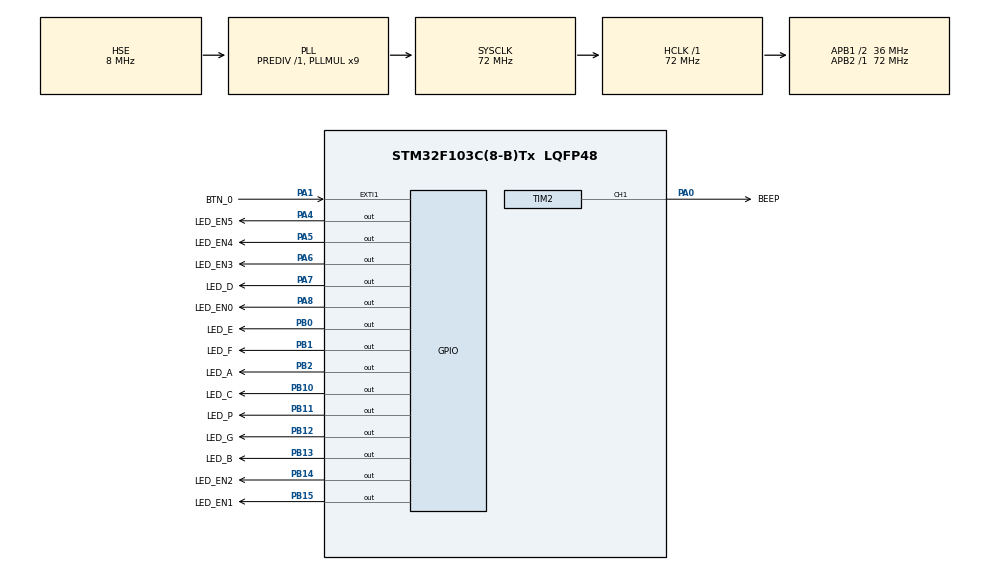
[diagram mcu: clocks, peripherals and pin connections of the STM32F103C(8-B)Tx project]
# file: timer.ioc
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Mcu.Family=STM32F1
Mcu.Name=STM32F103C(8-B)Tx
Mcu.Package=LQFP48
NVIC.EXTI1_IRQn=true\:0\:0\:true\:false\:true\:true\:true\:true
NVIC.PriorityGroup=NVIC_PRIORITYGROUP_4
NVIC.TIM1_UP_IRQn=true\:0\:0\:false\:false\:true\:true\:true\:true
NVIC.TIM2_IRQn=true\:1\:0\:true\:false\:true\:true\:true\:true
PA0-WKUP.GPIO_Label=BEEP
PA0-WKUP.Signal=S_TIM2_CH1_ETR
PA1.GPIO_Label=BTN_0
PA1.Signal=GPXTI1
PA2.GPIO_Label=TIMER
PA2.Signal=S_TIM2_CH3
PA4.GPIO_Label=LED_EN5
PA4.Signal=GPIO_Output
PA5.GPIO_Label=LED_EN4
PA5.Signal=GPIO_Output
PA6.GPIO_Label=LED_EN3
PA6.Signal=GPIO_Output
PA7.GPIO_Label=LED_D
PA7.Signal=GPIO_Output
PA8.GPIO_Label=LED_EN0
PA8.Signal=GPIO_Output
PB0.GPIO_Label=LED_E
PB0.Signal=GPIO_Output
PB1.GPIO_Label=LED_F
PB1.Signal=GPIO_Output
PB10.GPIO_Label=LED_C
PB10.Signal=GPIO_Output
PB11.GPIO_Label=LED_P
PB11.Signal=GPIO_Output
PB12.GPIO_Label=LED_G
PB12.Signal=GPIO_Output
PB13.GPIO_Label=LED_B
PB13.Signal=GPIO_Output
PB14.GPIO_Label=LED_EN2
PB14.Signal=GPIO_Output
PB15.GPIO_Label=LED_EN1
PB15.Signal=GPIO_Output
PB2.GPIO_Label=LED_A
PB2.Signal=GPIO_Output
PC14-OSC32_IN.Mode=LSE-External-Oscillator
PC14-OSC32_IN.Signal=RCC_OSC32_IN
PC15-OSC32_OUT.Mode=LSE-External-Oscillator
PC15-OSC32_OUT.Signal=RCC_OSC32_OUT
PD0-OSC_IN.Mode=HSE-External-Oscillator
PD0-OSC_IN.Signal=RCC_OSC_IN
PD1-OSC_OUT.Mode=HSE-External-Oscillator
PD1-OSC_OUT.Signal=RCC_OSC_OUT
ProjectManager.HeapSize=0x200
ProjectManager.StackSize=0x400
ProjectManager.TargetToolchain=STM32CubeIDE
RCC.AHBFreq_Value=72000000
RCC.APB1CLKDivider=RCC_HCLK_DIV2
RCC.APB1Freq_Value=36000000
RCC.APB1TimFreq_Value=72000000
RCC.APB2Freq_Value=72000000
RCC.APB2TimFreq_Value=72000000
RCC.DATA_CACHE_ENABLE=0
RCC.HCLKFreq_Value=72000000
RCC.INSTRUCTION_CACHE_ENABLE=0
RCC.PLLMUL=RCC_PLL_MUL9
RCC.PLLSourceVirtual=RCC_PLLSOURCE_HSE
RCC.SYSCLKFreq_VALUE=72000000
RCC.SYSCLKSource=RCC_SYSCLKSOURCE_PLLCLK
RCC.USBFreq_Value=72000000
SH.S_TIM2_CH1_ETR.0=TIM2_CH1,PWM Generation1 CH1
SH.S_TIM2_CH3.0=TIM2_CH3
TIM1.Period=999
TIM1.Prescaler=71
TIM2.Channel-PWM\ Generation1\ CH1=TIM_CHANNEL_1
TIM2.Period=999
TIM2.Prescaler=71
VP_SYS_VS_ND.Mode=No_Debug
VP_TIM1_VS_ClockSourceINT.Mode=Internal
VP_TIM2_VS_ClockSourceINT.Mode=Internal
board=custom

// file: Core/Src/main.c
/* USER CODE BEGIN Header */
/**
  ******************************************************************************
  * @file           : main.c
  * @brief          : Main program body
  ******************************************************************************
  * @attention
  *
  * Copyright (c) 2023 STMicroelectronics.
  * All rights reserved.
  *
  * This software is licensed under terms that can be found in the LICENSE file
  * in the root directory of this software component.
  * If no LICENSE file comes with this software, it is provided AS-IS.
  *
  ******************************************************************************
  */
/* USER CODE END Header */
#include "main.h"
#include "tim.h"
#include "gpio.h"

/* USER CODE BEGIN PV */
uint8_t trigger = 0;
uint8_t play = 1;
uint16_t m_sec = 0;
uint8_t sec = 0;
uint8_t time = 0;
uint8_t display[6] = {0, 0, 0, 0, 0, 0};
uint16_t scale2freq[]= { //0为休止 从1-36 从低音Do 262Hz依次升高
        //休止
        1,
        //低DO
        262,
        //DO#
        277,
        //低2 RE
        294,
        //RE#
        311,
        //低3 MI
        330,
        //低4 FA
        349,
        //FA#
        370,
        //低5 SO
        392,
        //SO#
        415,
        //低6 LA
        440,
        //LA#
        466,
        //低7 SI
        494,
        //1 DO
        523,
        //DO#
        554,
        //中2 RE
        587,
        //RE#
        622,
        //中3 MI
        659,
        //中4 FA
        698,
        //FA#
        740,
        //中5 SO
        784,
        //SO#
        831,
        //中6 LA
        880,
        //LA#
        932,
        //中7 SI
        988,
        //高1 DO
        1046,
        //DO#
        1109,
        //高2 RE
        1175,
        //RE#
        1245,
        //高3 MI
        319,
        //高4 FA
        1397,
        //FA#
        1480,
        //高5 SO
        1568,
        //SO#
        1661,
        //高6 LA
        1760,
        //LA#
        1865,
        //高7 SI
        1967
};
uint8_t scale[] = { //乐谱 千本樱
//h1 四行为一个小节
20,20,20,20,22,22,22,22, //一行为一个4分音符
15,15,13,13,15,15,13,13,
20,20,20,20,22,22,22,22,
15,15,13,13,15,15,13,13,

20,20,20,20,22,22,22,22,
15,15,13,13,15,15,13,13,
18,18,18,18,17,17,17,17,
18,17,15,15,13,13,13,13,

20,20,20,20,22,22,22,22,
15,15,13,13,15,15,13,13,
20,20,20,20,22,22,22,22,
15,15,13,13,15,15,13,13,

20,20,20,20,22,22,22,22,
25,25,25,25,30,30,30,30,
29,29,30,30,29,29,27,27,
25,25,25,25,22,22,22,22,

//h2
20,20,20,20, 22,22,22,22,
15,15,13,13,15,15,13,13,
20,20,20,20,22,22,22,22,
15,15,13,13,15,15,13,13,

20,20,20,20,22,22,22,22,
15,15,13,13,15,15,13,13,
18,18,18,18,17,17,17,17,
18,17,15,15,13,13,13,13,

15,15,15,15,13,13,15,15,
18,18,18,18,15,15,18,18,
22,22,22,22,20,20,22,22,
25,25,25,25,22,22,25,25,

30,30,30,30,29,29,30,29,
27,27,27,27,25,25,25,25,
27,27,27,27,27,27,27,27,
15,15,15,15,18,18,18,18,

//h3
20,20,20,20, 22,22,22,22,
15,15,13,13,15,15,13,13,
20,20,20,20,22,22,22,22,
15,15,13,13,15,15,13,13,

20,20,20,20,22,22,22,22,
15,15,13,13,15,15,13,13,
18,18,18,18,17,17,17,17,
18,17,15,15,13,13,13,13,

20,20,20,20,22,22,22,22,
15,15,13,13,15,15,13,13,
20,20,20,20,22,22,22,22,
15,15,13,13,15,15,13,13,

20,20,20,20,22,22,22,22,
25,25,25,25,30,30,30,30,
29,29,30,30,29,29,27,27,
25,25,25,25,22,22,22,22,

//h4
20,20,20,20,22,22,22,22,
15,15,13,13,15,15,13,13,
20,20,20,20,22,22,22,22,
15,15,13,13,15,15,13,13,

20,20,20,20,22,22,22,22,
15,15,13,13,15,15,13,13,
18,18,18,18,17,17,17,17,
18,17,15,15,13,13,13,13,

20,20,18,18,22,22,25,25,
27,27,25,25,22,22,20,20,
15,15,15,15,18,18,18,18,
20,20,20,20,22,22,22,22,

15,15,15,15,15,0,15,15,
15,15,15,0,13,13,13,13,
15,15,15,15,15,15,15,15,
0,0,0,0,0,0,0,0,

//h5
15,15,15,15,15,15,15,0,
15,15,15,15,13,13,13,13,
15,15,15,15,18,18,18,0,
18,18,18,18,20,20,20,20,

15,15,15,15,15,15,15,0,
15,15,15,15,13,13,13,13,
15,15,15,15,13,13,13,0,
10,10,10,10,13,13,13,13,

15,15,15,15,15,15,15,0,
15,15,15,15,13,13,13,13,
15,15,15,15,18,18,18,0,
18,18,18,18,20,20,20,20,

22,22,22,22,22,22,22,22,
20,20,20,20,22,22,20,20,
18,18,18,18,18,18,18,18,
15,15,15,15,15,15,15,0,

//h6
15,15,15,15,15,15,15,0,
15,15,15,15,13,13,13,13,
15,15,15,15,18,18,18,0,
18,18,18,18,20,20,20,20,

15,15,15,15,15,15,15,0,
15,15,15,15,13,13,13,13,
15,15,15,15,13,13,13,0,
13,13,13,13,10,10,10,10,

15,15,15,15,15,15,15,0,
15,15,15,15,13,13,13,13,
15,15,15,15,18,18,18,0,
18,18,18,18,20,20,20,20,

22,22,22,22,22,22,22,22,
20,20,20,20,22,22,20,20,
18,18,18,18,18,18,18,18,
15,15,15,15,15,15,15,15,

//h7
18,18,18,18,18,18,18,18,
17,17,17,17,17,17,17,17,
15,15,15,15,15,15,15,15,
13,13,13,13,13,13,13,0,

13,13,13,13,13,13,15,15,
10,10,10,10,8,8,8,8,
10,10,10,10,10,10,10,10,
10,10,10,10,10,10,10,0,

10,10,10,10,13,13,13,13,
15,15,15,15,15,15,15,15,
20,20,20,20,20,20,20,20,
17,17,17,17,17,17,17,17,

18,18,18,18,18,18,18,18,
17,17,17,17,13,13,13,13,
15,15,15,15,15,15,15,15,
15,15,15,15,15,15,15,15,

//h8
18,18,18,18,18,18,18,18,
17,17,17,17,17,17,17,17,
15,15,15,15,15,15,15,15,
13,13,13,13,13,13,13,13,

13,13,13,13,13,13,15,15,
10,10,10,10,8,8,8,8,
10,10,10,10,10,10,10,0,
10,10,10,10,13,13,13,13,

15,15,15,0,15,15,15,15,
15,15,15,0,15,15,15,15,
18,18,18,18,18,18,18,18,
20,20,20,20,20,20,20,20,

17,17,17,17,17,17,17,17,
17,17,17,17,17,17,17,17,
17,17,17,17,0,0,0,0,
15,15,15,15,18,18,18,18,

//h9
20,20,20,0,20,20,20,20,
20,20,20,20,22,22,22,0,
22,22,22,22,22,22,22,22,
22,22,22,0,22,22,22,22,

25,25,25,25,27,27,27,27,
20,20,20,20,18,18,18,18,
22,22,22,22,22,22,22,22,
15,15,15,15,18,18,18,18,

20,20,20,20,20,0,20,20,
20,20,20,20,22,22,22,0,
22,22,22,22,22,22,22,22,
22,22,22,0,22,22,22,22,

23,23,23,23,22,22,22,22,
20,20,20,20,18,18,18,0,
18,18,18,18,18,18,18,18,
15,15,15,15,18,18,18,18,

//h10
20,20,20,20,20,0,20,20,
20,20,20,20,22,22,22,0,
22,22,22,22,22,22,22,22,
22,22,22,0,22,22,22,22,

25,25,25,25,27,27,27,27,
20,20,20,20,18,18,18,18,
22,22,22,22,22,22,22,22,
15,15,15,15,18,18,18,18,

23,23,23,23,23,23,23,23,
22,22,22,22,22,22,22,22,
20,20,20,20,20,20,20,20,
18,18,18,18,18,18,18,18,

20,20,20,20,22,22,22,22,
18,18,18,18,13,13,13,13,
15,15,15,15,15,15,15,0,
15,15,15,15,18,18,18,18,

//h9 2
20,20,20,20,20,0,20,20,
20,20,20,20,22,22,22,0,
22,22,22,22,22,22,22,22,
22,22,22,0,22,22,22,22,

25,25,25,25,27,27,27,27,
20,20,20,20,18,18,18,18,
22,22,22,22,22,22,22,22,
15,15,15,15,18,18,18,18,

20,20,20,20,20,0,20,20,
20,20,20,20,22,22,22,0,
22,22,22,22,22,22,22,22,
22,22,22,0,22,22,22,22,

23,23,23,23,22,22,22,22,
20,20,20,20,18,18,18,0,
18,18,18,18,18,18,18,18,
15,15,15,15,18,18,18,18,

//h10 2 + 11
20,20,20,20,20,0,20,20,
20,20,20,20,22,22,22,0,
22,22,22,22,22,22,22,22,
22,22,22,0,22,22,22,22,

25,25,25,25,27,27,27,27,
20,20,20,20,18,18,18,18,
22,22,22,22,22,22,22,22,
15,15,15,15,18,18,18,18,

23,23,23,23,23,23,23,23,
22,22,22,22,22,22,22,22,
20,20,20,20,20,20,20,20,
18,18,18,18,18,18,18,18,

20,20,20,20,18,18,18,18,
22,22,22,22,25,25,25,25,
27,27,27,27,27,27,27,27,
27,27,27,27,0,0,0,0,

//h3 2
20,20,20,20, 22,22,22,22,
15,15,13,13,15,15,13,13,
20,20,20,20,22,22,22,22,
15,15,13,13,15,15,13,13,

20,20,20,20,22,22,22,22,
15,15,13,13,15,15,13,13,
18,18,18,18,17,17,17,17,
18,17,15,15,13,13,13,13,

20,20,20,20,22,22,22,22,
15,15,13,13,15,15,13,13,
20,20,20,20,22,22,22,22,
15,15,13,13,15,15,13,13,

20,20,20,20,22,22,22,22,
25,25,25,25,30,30,30,30,
29,29,30,30,29,29,27,27,
25,25,25,25,22,22,22,22,

//h4 2
20,20,20,20, 22,22,22,22,
15,15,13,13,15,15,13,13,
20,20,20,20,22,22,22,22,
15,15,13,13,15,15,13,13,

20,20,20,20,22,22,22,22,
15,15,13,13,15,15,13,13,
18,18,18,18,17,17,17,17,
18,17,15,15,13,13,13,13,

20,20,18,18,22,22,25,25,
27,27,25,25,22,22,20,20,
15,15,15,15,15,15,18,18,
20,20,20,20,22,22,22,22,

15,15,15,15,15,0,15,15,
15,15,15,0,13,13,13,13,
15,15,15,15,15,15,15,15,
0,0,0,0,0,0,0,0,

//h12
18,18,18,18,18,18,18,18,
17,17,17,17,17,17,17,17,
15,15,15,15,15,15,15,15,
13,13,13,13,13,13,13,13,

13,13,13,13,13,13,15,15,
10,10,10,10,8,8,8,8,
10,10,10,10,10,10,10,10,
10,10,10,10,10,10,10,0,

10,10,10,10,13,13,13,13,
15,15,15,15,15,15,15,15,
20,20,20,20,20,20,20,20,
17,17,17,17,17,17,17,17,

18,18,18,18,18,18,18,18,
17,17,17,17,13,13,13,13,
15,15,15,15,15,15,15,15,
15,15,15,15,15,15,15,15,

//h13
18,18,18,18,18,18,18,18,
17,17,17,17,17,17,17,17,
15,15,15,15,15,15,15,15,
13,13,13,13,13,13,13,0,

13,13,13,13,13,13,15,15,
10,10,10,10,8,8,8,8,
10,10,10,10,10,10,10,0,
10,10,10,10,13,13,13,13,

15,15,15,0,15,15,15,15,
15,15,15,0,15,15,15,15,
18,18,18,18,18,18,18,18,
20,20,20,20,20,20,20,20,

17,17,17,17,17,17,17,17,
17,17,17,17,17,17,17,17,
17,17,17,17,0,0,0,0,
15,15,15,15,18,18,18,18,

//h14
20,20,20,20,20,0,20,20,
20,20,20,20,22,22,22,0,
22,22,22,22,22,22,22,22,
22,22,22,0,22,22,22,22,

25,25,25,25,27,27,27,27,
20,20,20,20,18,18,18,18,
22,22,22,22,22,22,22,22,
15,15,15,15,18,18,18,18,

20,20,20,20,20,0,20,20,
20,20,20,20,22,22,22,0,
22,22,22,22,22,22,22,22,
22,22,22,0,22,22,22,22,

23,23,23,23,22,22,22,22,
20,20,20,20,18,18,18,0,
18,18,18,18,18,18,18,18,
15,15,15,15,18,18,18,18,

//h15
20,20,20,20,20,0,20,20,
20,20,20,20,22,22,22,0,
22,22,22,22,22,22,22,22,
22,22,22,0,22,22,22,22,

25,25,25,25,27,27,27,27,
20,20,20,20,18,18,18,18,
22,22,22,22,22,22,22,22,
15,15,15,15,18,18,18,18,

23,23,23,23,23,23,23,23,
22,22,22,22,22,22,22,22,
20,20,20,20,20,20,20,20,
18,18,18,18,18,18,18,18,

20,20,20,20,22,22,22,22,
20,20,20,20,22,22,22,22,
22,22,22,22,22,22,22,22,
17,17,17,17,20,20,20,20,

//h16
22,22,22,22,22,0,22,22,
22,22,22,22,24,24,24,0,
24,24,24,24,24,24,24,24,
24,24,24,0,24,24,24,24,

27,27,27,27,29,29,29,29,
22,22,22,22,20,20,20,20,
24,24,24,24,24,24,24,24,
17,17,17,17,20,20,20,20,

22,22,22,22,22,0,22,22,
22,22,22,22,24,24,24,0,
24,24,24,24,24,24,24,24,
24,24,24,0,24,24,24,24,

25,25,25,25,24,24,24,24,
22,22,22,22,20,20,20,0,
20,20,20,20,20,20,20,20,
17,17,17,17,20,20,20,20,

//h17
22,22,22,22,22,0,22,22,
22,22,22,22,24,24,24,0,
24,24,24,24,24,24,24,24,
24,24,24,0,24,24,24,24,

27,27,27,27,29,29,29,29,
22,22,22,22,20,20,20,20,
24,24,24,24,24,24,24,24,
17,17,17,17,20,20,20,20,

25,25,25,25,25,25,25,25,
24,24,24,24,24,24,24,24,
22,22,22,22,22,22,22,22,
20,20,20,20,20,20,20,20,

22,22,22,22,20,20,20,20,
24,24,24,24,27,27,27,27,
29,29,29,29,29,29,29,29,
29,29,29,29,29,29,29,29,
};

/* USER CODE END PV */

void SystemClock_Config(void);
/* USER CODE BEGIN PFP */
void DisplayDriver(){
    static uint8_t digit= 0;
    // Turn it off
    HAL_GPIO_WritePin(GPIOA,LED_EN0_Pin | LED_EN3_Pin | LED_EN4_Pin | LED_EN5_Pin, GPIO_PIN_SET);
    HAL_GPIO_WritePin(GPIOB,LED_EN1_Pin | LED_EN2_Pin , GPIO_PIN_SET);

    //kill the upper pin when there is no need
    //if(sec < 1 && digit < 3) {digit++; return;}
    if(sec < 10 && digit < 2) {digit++; return;}
    if(sec < 100 && digit < 1) {digit++; return;}

    // Choose the pin
    switch (digit) {
        case 0:
            HAL_GPIO_WritePin(GPIOA, LED_EN0_Pin, GPIO_PIN_RESET);
						HAL_GPIO_WritePin(GPIOB, LED_P_Pin , GPIO_PIN_SET);
            break;
        case 1:
            HAL_GPIO_WritePin(GPIOB, LED_EN1_Pin, GPIO_PIN_RESET);
						HAL_GPIO_WritePin(GPIOB, LED_P_Pin , GPIO_PIN_SET);
            break;
        case 2:
            HAL_GPIO_WritePin(GPIOB, LED_EN2_Pin, GPIO_PIN_RESET);
						HAL_GPIO_WritePin(GPIOB, LED_P_Pin , GPIO_PIN_RESET);
            break;
        case 3:
            HAL_GPIO_WritePin(GPIOA, LED_EN3_Pin, GPIO_PIN_RESET);
						HAL_GPIO_WritePin(GPIOB, LED_P_Pin , GPIO_PIN_SET);
            break;
        case 4:
            HAL_GPIO_WritePin(GPIOA, LED_EN4_Pin, GPIO_PIN_RESET);
						HAL_GPIO_WritePin(GPIOB, LED_P_Pin , GPIO_PIN_SET);
            break;
        case 5:
            HAL_GPIO_WritePin(GPIOA, LED_EN5_Pin, GPIO_PIN_RESET);
						HAL_GPIO_WritePin(GPIOB, LED_P_Pin , GPIO_PIN_SET);
            break;
        default:
            break;
    }
    // Display display[]
    switch (display[digit]) {
        case 0:
            HAL_GPIO_WritePin(GPIOB, LED_A_Pin |LED_C_Pin | LED_E_Pin | LED_F_Pin | LED_B_Pin, GPIO_PIN_RESET);
            HAL_GPIO_WritePin(GPIOA, LED_B_Pin | LED_D_Pin, GPIO_PIN_RESET);
            HAL_GPIO_WritePin(GPIOB, LED_G_Pin , GPIO_PIN_SET);
            break;
        case 1:
            HAL_GPIO_WritePin(GPIOA, LED_B_Pin, GPIO_PIN_RESET);
            HAL_GPIO_WritePin(GPIOB, LED_C_Pin | LED_B_Pin, GPIO_PIN_RESET);
            HAL_GPIO_WritePin(GPIOA, LED_D_Pin,GPIO_PIN_SET);
            HAL_GPIO_WritePin(GPIOB, LED_A_Pin | LED_E_Pin | LED_F_Pin | LED_G_Pin, GPIO_PIN_SET);

            break;
        case 2:
						HAL_GPIO_WritePin(GPIOA, LED_A_Pin | LED_E_Pin | LED_G_Pin | LED_B_Pin | LED_D_Pin, GPIO_PIN_RESET);
            HAL_GPIO_WritePin(GPIOA, LED_F_Pin | LED_C_Pin , GPIO_PIN_SET);
            HAL_GPIO_WritePin(GPIOB, LED_A_Pin | LED_E_Pin | LED_G_Pin | LED_B_Pin | LED_D_Pin, GPIO_PIN_RESET);
            HAL_GPIO_WritePin(GPIOB, LED_F_Pin | LED_C_Pin , GPIO_PIN_SET);

            break;
        case 3:
            HAL_GPIO_WritePin(GPIOA, LED_A_Pin | LED_C_Pin | LED_G_Pin | LED_B_Pin | LED_D_Pin , GPIO_PIN_RESET);
            HAL_GPIO_WritePin(GPIOA, LED_E_Pin | LED_F_Pin , GPIO_PIN_SET);
						HAL_GPIO_WritePin(GPIOB, LED_A_Pin | LED_C_Pin | LED_G_Pin | LED_B_Pin | LED_D_Pin , GPIO_PIN_RESET);
            HAL_GPIO_WritePin(GPIOB, LED_E_Pin | LED_F_Pin , GPIO_PIN_SET);

            break;
        case 4:
            HAL_GPIO_WritePin(GPIOA, LED_B_Pin | LED_C_Pin | LED_F_Pin | LED_G_Pin, GPIO_PIN_RESET);
            HAL_GPIO_WritePin(GPIOB, LED_B_Pin | LED_C_Pin | LED_F_Pin | LED_G_Pin, GPIO_PIN_RESET);
            HAL_GPIO_WritePin(GPIOA, LED_A_Pin | LED_D_Pin | LED_E_Pin , GPIO_PIN_SET);
            HAL_GPIO_WritePin(GPIOB, LED_A_Pin | LED_D_Pin | LED_E_Pin , GPIO_PIN_SET);
            break;
        case 5:
            HAL_GPIO_WritePin(GPIOA, LED_A_Pin | LED_C_Pin | LED_D_Pin | LED_F_Pin | LED_G_Pin, GPIO_PIN_RESET);
            HAL_GPIO_WritePin(GPIOB, LED_A_Pin | LED_C_Pin | LED_D_Pin | LED_F_Pin | LED_G_Pin, GPIO_PIN_RESET);
            HAL_GPIO_WritePin(GPIOA, LED_B_Pin | LED_E_Pin , GPIO_PIN_SET);
            HAL_GPIO_WritePin(GPIOB, LED_B_Pin | LED_E_Pin , GPIO_PIN_SET);
            break;
        case 6:
            HAL_GPIO_WritePin(GPIOA, LED_A_Pin | LED_C_Pin | LED_D_Pin | LED_E_Pin | LED_F_Pin | LED_G_Pin, GPIO_PIN_RESET);
            HAL_GPIO_WritePin(GPIOB, LED_A_Pin | LED_C_Pin | LED_D_Pin | LED_E_Pin | LED_F_Pin | LED_G_Pin, GPIO_PIN_RESET);
            HAL_GPIO_WritePin(GPIOA, LED_B_Pin , GPIO_PIN_SET);
            HAL_GPIO_WritePin(GPIOB, LED_B_Pin , GPIO_PIN_SET);
            break;
        case 7:
            HAL_GPIO_WritePin(GPIOA, LED_A_Pin | LED_B_Pin | LED_C_Pin, GPIO_PIN_RESET);
            HAL_GPIO_WritePin(GPIOB, LED_A_Pin | LED_B_Pin | LED_C_Pin, GPIO_PIN_RESET);
            HAL_GPIO_WritePin(GPIOA, LED_D_Pin | LED_E_Pin | LED_F_Pin | LED_G_Pin , GPIO_PIN_SET);
            HAL_GPIO_WritePin(GPIOB, LED_D_Pin | LED_E_Pin | LED_F_Pin | LED_G_Pin , GPIO_PIN_SET);
            break;
        case 8:
            HAL_GPIO_WritePin(GPIOA, LED_A_Pin | LED_B_Pin | LED_C_Pin | LED_D_Pin | LED_E_Pin | LED_F_Pin | LED_G_Pin, GPIO_PIN_RESET);
            HAL_GPIO_WritePin(GPIOB, LED_A_Pin | LED_B_Pin | LED_C_Pin | LED_D_Pin | LED_E_Pin | LED_F_Pin | LED_G_Pin, GPIO_PIN_RESET);
            break;
        case 9:
            HAL_GPIO_WritePin(GPIOA, LED_A_Pin | LED_B_Pin | LED_C_Pin | LED_D_Pin | LED_F_Pin | LED_G_Pin, GPIO_PIN_RESET);
            HAL_GPIO_WritePin(GPIOB, LED_A_Pin | LED_B_Pin | LED_C_Pin | LED_D_Pin | LED_F_Pin | LED_G_Pin, GPIO_PIN_RESET);
            HAL_GPIO_WritePin(GPIOA, LED_E_Pin , GPIO_PIN_SET);
            HAL_GPIO_WritePin(GPIOB, LED_E_Pin , GPIO_PIN_SET);
            break;
        default:
            break;
    }
    // Go to next pin
    digit++;
    if (digit > 5) { digit = 0; return;}

}

void GetTime(){
    if (m_sec >= 1000){
        m_sec = 0;
        sec++;
    }
    uint16_t m_sec_t = m_sec;
    uint8_t sec_t = sec;
    display[5] = m_sec_t % 10;
    m_sec_t /= 10;
    display[4] = m_sec_t % 10;
    m_sec_t /= 10;
    display[3] = m_sec_t % 10;
    display[2] = sec_t % 10;
    sec_t /= 10;
    display[1] = sec_t % 10;
    sec_t /= 10;
    display[0] = sec_t % 10;
    //操作

}

void Beep(){
    static uint32_t freq = 0; //当前需要播放的音符频率
    static uint32_t flag = 0; //当前需要播放的音符位数
    if(m_sec % 25== 0){ //25ms播放一个32分音符 视一个节拍为 0.025*32 s
        if (flag > 2560) flag = 0; //表明运行多少个音符后从头开始播放 输入scale的长度
        freq = scale2freq[scale[flag++]]; //查询当前需要播放的音符频率
        __HAL_TIM_SET_AUTORELOAD(&htim2,1000000/freq-1); //设置PWM周期
        __HAL_TIM_SET_COUNTER(&htim2,0); //重置PWM计数器
        __HAL_TIM_SET_COMPARE(&htim2,TIM_CHANNEL_1,(1000000/freq-1)>>1); //设置占空比【响度 目前为50%】
        HAL_TIM_PWM_Start(&htim2, TIM_CHANNEL_1); //启动PWM
    }
}

/* USER CODE END PFP */

int main(void)
{

  /* MCU Configuration--------------------------------------------------------*/

  /* Reset of all peripherals, Initializes the Flash interface and the Systick. */
  HAL_Init();

  /* Configure the system clock */
  SystemClock_Config();

  /* Initialize all configured peripherals */
  MX_GPIO_Init();
  MX_TIM2_Init();
  MX_TIM1_Init();
  /* USER CODE BEGIN 2 */
  HAL_TIM_Base_Start_IT(&htim1);
  HAL_TIM_Base_Start_IT(&htim2);

  /* USER CODE END 2 */

  /* Infinite loop */
  /* USER CODE BEGIN WHILE */
    while (1)
    {
        if(trigger == 0) {
            play = !play;
            if(play == 1 && sec == time){
                m_sec = 0;
                sec =0;
            }
            else{time = sec;}
            trigger = 1;
            HAL_TIM_PWM_Stop(&htim2,TIM_CHANNEL_1);
        }
        if(play == 1){
            GetTime();
            Beep();
        }

        DisplayDriver();
        HAL_Delay(1);
        /* USER CODE END WHILE */

    }
}

void SystemClock_Config(void)
{
  RCC_OscInitTypeDef RCC_OscInitStruct = {0};
  RCC_ClkInitTypeDef RCC_ClkInitStruct = {0};

  /** Initializes the RCC Oscillators according to the specified parameters
  * in the RCC_OscInitTypeDef structure.
  */
  RCC_OscInitStruct.OscillatorType = RCC_OSCILLATORTYPE_HSE;
  RCC_OscInitStruct.HSEState = RCC_HSE_ON;
  RCC_OscInitStruct.HSEPredivValue = RCC_HSE_PREDIV_DIV1;
  RCC_OscInitStruct.HSIState = RCC_HSI_ON;
  RCC_OscInitStruct.PLL.PLLState = RCC_PLL_ON;
  RCC_OscInitStruct.PLL.PLLSource = RCC_PLLSOURCE_HSE;
  RCC_OscInitStruct.PLL.PLLMUL = RCC_PLL_MUL9;
  if (HAL_RCC_OscConfig(&RCC_OscInitStruct) != HAL_OK)
  {
    Error_Handler();
  }

  /** Initializes the CPU, AHB and APB buses clocks
  */
  RCC_ClkInitStruct.ClockType = RCC_CLOCKTYPE_HCLK|RCC_CLOCKTYPE_SYSCLK
                              |RCC_CLOCKTYPE_PCLK1|RCC_CLOCKTYPE_PCLK2;
  RCC_ClkInitStruct.SYSCLKSource = RCC_SYSCLKSOURCE_PLLCLK;
  RCC_ClkInitStruct.AHBCLKDivider = RCC_SYSCLK_DIV1;
  RCC_ClkInitStruct.APB1CLKDivider = RCC_HCLK_DIV2;
  RCC_ClkInitStruct.APB2CLKDivider = RCC_HCLK_DIV1;

  if (HAL_RCC_ClockConfig(&RCC_ClkInitStruct, FLASH_LATENCY_2) != HAL_OK)
  {
    Error_Handler();
  }
}

/* USER CODE BEGIN 4 */
void HAL_TIM_PeriodElapsedCallback(TIM_HandleTypeDef *htim)
{
    if(htim->Instance == TIM1){
        m_sec++;
    }

}

void HAL_GPIO_EXTI_Callback(uint16_t GPIO_Pin){
    if(GPIO_PIN_SET == HAL_GPIO_ReadPin(BTN_0_GPIO_Port,BTN_0_Pin)) {
        trigger = 0;
    }
}

/* USER CODE END 4 */

void Error_Handler(void)
{
  __disable_irq();
  while (1)
  {
  }
}
